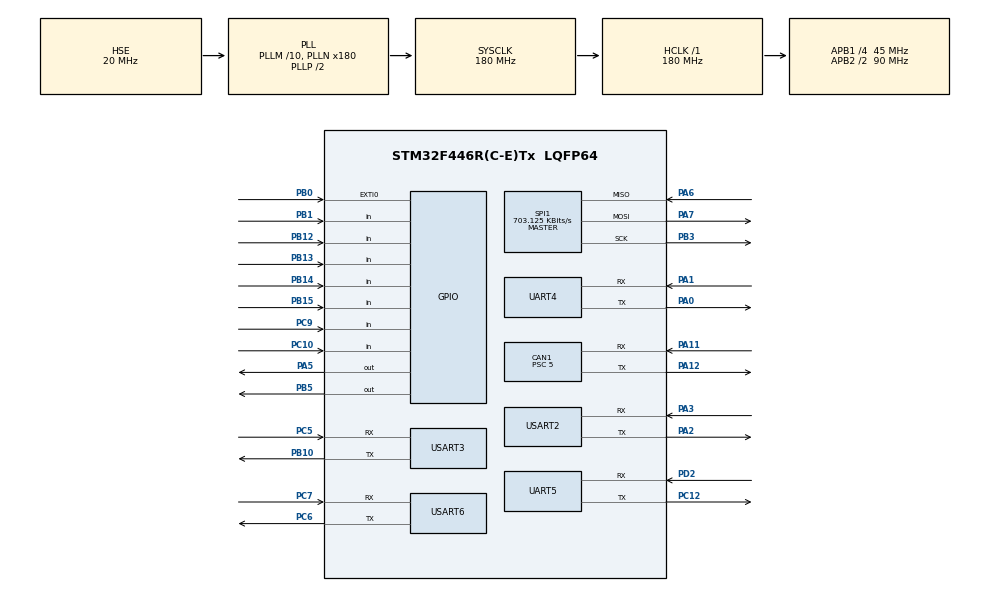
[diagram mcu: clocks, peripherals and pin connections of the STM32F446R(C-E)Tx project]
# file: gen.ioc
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CAN1.ABOM=ENABLE
CAN1.AWUM=ENABLE
CAN1.BS1=CAN_BS1_13TQ
CAN1.BS2=CAN_BS2_2TQ
CAN1.CalculateTimeQuantum=111.11111111111111
CAN1.NART=ENABLE
CAN1.Prescaler=5
Dma.Request0=USART2_RX
Dma.Request1=USART2_TX
Dma.Request2=USART3_RX
Dma.Request3=USART3_TX
Dma.Request4=SPI1_RX
Dma.Request5=SPI1_TX
Dma.Request6=UART5_RX
Dma.Request7=UART5_TX
Dma.Request8=UART4_RX
Dma.Request9=UART4_TX
Dma.SPI1_RX.4.Direction=DMA_PERIPH_TO_MEMORY
Dma.SPI1_RX.4.FIFOMode=DMA_FIFOMODE_DISABLE
Dma.SPI1_RX.4.Instance=DMA2_Stream0
Dma.SPI1_RX.4.MemDataAlignment=DMA_MDATAALIGN_BYTE
Dma.SPI1_RX.4.MemInc=DMA_MINC_ENABLE
Dma.SPI1_RX.4.Mode=DMA_NORMAL
Dma.SPI1_RX.4.PeriphDataAlignment=DMA_PDATAALIGN_BYTE
Dma.SPI1_RX.4.PeriphInc=DMA_PINC_DISABLE
Dma.SPI1_RX.4.Priority=DMA_PRIORITY_LOW
Dma.SPI1_TX.5.Direction=DMA_MEMORY_TO_PERIPH
Dma.SPI1_TX.5.FIFOMode=DMA_FIFOMODE_DISABLE
Dma.SPI1_TX.5.Instance=DMA2_Stream3
Dma.SPI1_TX.5.MemDataAlignment=DMA_MDATAALIGN_BYTE
Dma.SPI1_TX.5.MemInc=DMA_MINC_ENABLE
Dma.SPI1_TX.5.Mode=DMA_NORMAL
Dma.SPI1_TX.5.PeriphDataAlignment=DMA_PDATAALIGN_BYTE
Dma.SPI1_TX.5.PeriphInc=DMA_PINC_DISABLE
Dma.SPI1_TX.5.Priority=DMA_PRIORITY_LOW
Dma.UART4_RX.8.Direction=DMA_PERIPH_TO_MEMORY
Dma.UART4_RX.8.FIFOMode=DMA_FIFOMODE_DISABLE
Dma.UART4_RX.8.Instance=DMA1_Stream2
Dma.UART4_RX.8.MemDataAlignment=DMA_MDATAALIGN_BYTE
Dma.UART4_RX.8.MemInc=DMA_MINC_ENABLE
Dma.UART4_RX.8.Mode=DMA_CIRCULAR
Dma.UART4_RX.8.PeriphDataAlignment=DMA_PDATAALIGN_BYTE
Dma.UART4_RX.8.PeriphInc=DMA_PINC_DISABLE
Dma.UART4_RX.8.Priority=DMA_PRIORITY_LOW
Dma.UART4_TX.9.Direction=DMA_MEMORY_TO_PERIPH
Dma.UART4_TX.9.FIFOMode=DMA_FIFOMODE_DISABLE
Dma.UART4_TX.9.Instance=DMA1_Stream4
Dma.UART4_TX.9.MemDataAlignment=DMA_MDATAALIGN_BYTE
Dma.UART4_TX.9.MemInc=DMA_MINC_ENABLE
Dma.UART4_TX.9.Mode=DMA_NORMAL
Dma.UART4_TX.9.PeriphDataAlignment=DMA_PDATAALIGN_BYTE
Dma.UART4_TX.9.PeriphInc=DMA_PINC_DISABLE
Dma.UART4_TX.9.Priority=DMA_PRIORITY_LOW
Dma.UART5_RX.6.Direction=DMA_PERIPH_TO_MEMORY
Dma.UART5_RX.6.FIFOMode=DMA_FIFOMODE_DISABLE
Dma.UART5_RX.6.Instance=DMA1_Stream0
Dma.UART5_RX.6.MemDataAlignment=DMA_MDATAALIGN_BYTE
Dma.UART5_RX.6.MemInc=DMA_MINC_ENABLE
Dma.UART5_RX.6.Mode=DMA_CIRCULAR
Dma.UART5_RX.6.PeriphDataAlignment=DMA_PDATAALIGN_BYTE
Dma.UART5_RX.6.PeriphInc=DMA_PINC_DISABLE
Dma.UART5_RX.6.Priority=DMA_PRIORITY_LOW
Dma.UART5_TX.7.Direction=DMA_MEMORY_TO_PERIPH
Dma.UART5_TX.7.FIFOMode=DMA_FIFOMODE_DISABLE
Dma.UART5_TX.7.Instance=DMA1_Stream7
Dma.UART5_TX.7.MemDataAlignment=DMA_MDATAALIGN_BYTE
Dma.UART5_TX.7.MemInc=DMA_MINC_ENABLE
Dma.UART5_TX.7.Mode=DMA_NORMAL
Dma.UART5_TX.7.PeriphDataAlignment=DMA_PDATAALIGN_BYTE
Dma.UART5_TX.7.PeriphInc=DMA_PINC_DISABLE
Dma.UART5_TX.7.Priority=DMA_PRIORITY_LOW
Dma.USART2_RX.0.Direction=DMA_PERIPH_TO_MEMORY
Dma.USART2_RX.0.FIFOMode=DMA_FIFOMODE_DISABLE
Dma.USART2_RX.0.Instance=DMA1_Stream5
Dma.USART2_RX.0.MemDataAlignment=DMA_MDATAALIGN_BYTE
Dma.USART2_RX.0.MemInc=DMA_MINC_ENABLE
Dma.USART2_RX.0.Mode=DMA_NORMAL
Dma.USART2_RX.0.PeriphDataAlignment=DMA_PDATAALIGN_BYTE
Dma.USART2_RX.0.PeriphInc=DMA_PINC_DISABLE
Dma.USART2_RX.0.Priority=DMA_PRIORITY_LOW
Dma.USART2_TX.1.Direction=DMA_MEMORY_TO_PERIPH
Dma.USART2_TX.1.FIFOMode=DMA_FIFOMODE_DISABLE
Dma.USART2_TX.1.Instance=DMA1_Stream6
Dma.USART2_TX.1.MemDataAlignment=DMA_MDATAALIGN_BYTE
Dma.USART2_TX.1.MemInc=DMA_MINC_ENABLE
Dma.USART2_TX.1.Mode=DMA_NORMAL
Dma.USART2_TX.1.PeriphDataAlignment=DMA_PDATAALIGN_BYTE
Dma.USART2_TX.1.PeriphInc=DMA_PINC_DISABLE
Dma.USART2_TX.1.Priority=DMA_PRIORITY_LOW
Dma.USART3_RX.2.Direction=DMA_PERIPH_TO_MEMORY
Dma.USART3_RX.2.FIFOMode=DMA_FIFOMODE_DISABLE
Dma.USART3_RX.2.Instance=DMA1_Stream1
Dma.USART3_RX.2.MemDataAlignment=DMA_MDATAALIGN_BYTE
Dma.USART3_RX.2.MemInc=DMA_MINC_ENABLE
Dma.USART3_RX.2.Mode=DMA_CIRCULAR
Dma.USART3_RX.2.PeriphDataAlignment=DMA_PDATAALIGN_BYTE
Dma.USART3_RX.2.PeriphInc=DMA_PINC_DISABLE
Dma.USART3_RX.2.Priority=DMA_PRIORITY_LOW
Dma.USART3_TX.3.Direction=DMA_MEMORY_TO_PERIPH
Dma.USART3_TX.3.FIFOMode=DMA_FIFOMODE_DISABLE
Dma.USART3_TX.3.Instance=DMA1_Stream3
Dma.USART3_TX.3.MemDataAlignment=DMA_MDATAALIGN_BYTE
Dma.USART3_TX.3.MemInc=DMA_MINC_ENABLE
Dma.USART3_TX.3.Mode=DMA_NORMAL
Dma.USART3_TX.3.PeriphDataAlignment=DMA_PDATAALIGN_BYTE
Dma.USART3_TX.3.PeriphInc=DMA_PINC_DISABLE
Dma.USART3_TX.3.Priority=DMA_PRIORITY_LOW
FREERTOS.MEMORY_ALLOCATION=1
FREERTOS.Tasks01=DebugTask,-2,1024,StartDebugTask,Default,NULL,Static,DebugTaskBuffer,DebugTaskControlBlock;ControlTask,3,512,StartControlTask,Default,NULL,Static,ControlTaskBuffer,ControlTaskControlBlock;VehicleStateTask,0,512,StartVehicleStateTask,Default,NULL,Static,VehicleStateTaskBuffer,VehicleStateTaskControlBlock;LineDetectTask,2,512,StartLineDetectTask,Default,NULL,Static,LineDetectTaskBuffer,LineDetectTaskControlBlock;StartupTask,-2,512,StartStartupTask,Default,NULL,Static,StartupTaskBuffer,StartupTaskControlBlock;DistSensorTask,0,512,StartDistSensorTask,Default,NULL,Static,DistSensorTaskBuffer,DistSensorTaskControlBlock;ProgLabyrinthTask,0,1024,StartProgLabyrinthTask,Default,NULL,Static,TaskProgLabyrinthBuffer,TaskProgLabyrinthControlBlock;ProgRaceTrackTask,0,1024,StartProgRaceTrackTask,Default,NULL,Static,ProgRaceTrackTaskBuffer,ProgRaceTrackTaskControlBlock;RadioRecvTask,-2,512,StartRadioRecvTask,Default,NULL,Static,RadioRecvTaskBuffer,RadioRecvTaskControlBlock
FREERTOS.configCHECK_FOR_STACK_OVERFLOW=1
FREERTOS.configMAX_TASK_NAME_LEN=30
FREERTOS.configUSE_TRACE_FACILITY=1
Mcu.Family=STM32F4
Mcu.Name=STM32F446R(C-E)Tx
Mcu.Package=LQFP64
NVIC.CAN1_RX0_IRQn=true\:5\:0\:false\:false\:true\:true\:true\:true
NVIC.CAN1_TX_IRQn=true\:5\:0\:false\:false\:true\:true\:true\:true
NVIC.DMA1_Stream0_IRQn=true\:5\:0\:false\:false\:true\:true\:false\:true
NVIC.DMA1_Stream1_IRQn=true\:5\:0\:false\:false\:true\:true\:false\:true
NVIC.DMA1_Stream2_IRQn=true\:5\:0\:false\:false\:true\:true\:false\:true
NVIC.DMA1_Stream3_IRQn=true\:5\:0\:false\:false\:true\:true\:false\:true
NVIC.DMA1_Stream4_IRQn=true\:5\:0\:false\:false\:true\:true\:false\:true
NVIC.DMA1_Stream5_IRQn=true\:5\:0\:false\:false\:true\:true\:false\:true
NVIC.DMA1_Stream6_IRQn=true\:5\:0\:false\:false\:true\:true\:false\:true
NVIC.DMA1_Stream7_IRQn=true\:5\:0\:false\:false\:true\:true\:false\:true
NVIC.DMA2_Stream0_IRQn=true\:5\:0\:false\:false\:true\:true\:false\:true
NVIC.DMA2_Stream3_IRQn=true\:5\:0\:false\:false\:true\:true\:false\:true
NVIC.EXTI0_IRQn=true\:5\:0\:false\:false\:true\:true\:true\:true
NVIC.PriorityGroup=NVIC_PRIORITYGROUP_4
NVIC.SPI1_IRQn=true\:5\:0\:false\:false\:true\:true\:true\:true
NVIC.TIM2_IRQn=true\:0\:0\:false\:false\:true\:false\:false\:true
NVIC.TimeBase=TIM2_IRQn
NVIC.TimeBaseIP=TIM2
NVIC.UART4_IRQn=true\:5\:0\:false\:false\:true\:true\:true\:true
NVIC.UART5_IRQn=true\:5\:0\:false\:false\:true\:true\:true\:true
NVIC.USART2_IRQn=true\:5\:0\:false\:false\:true\:true\:true\:true
NVIC.USART3_IRQn=true\:5\:0\:false\:false\:true\:true\:true\:true
PA0-WKUP.Mode=Asynchronous
PA0-WKUP.Signal=UART4_TX
PA1.Mode=Asynchronous
PA1.Signal=UART4_RX
PA11.Mode=Master
PA11.Signal=CAN1_RX
PA12.Mode=Master
PA12.Signal=CAN1_TX
PA13.Signal=SYS_JTMS-SWDIO
PA14.Signal=SYS_JTCK-SWCLK
PA2.Mode=Asynchronous
PA2.Signal=USART2_TX
PA3.Mode=Asynchronous
PA3.Signal=USART2_RX
PA5.Signal=GPIO_Output
PA6.Mode=Full_Duplex_Master
PA6.Signal=SPI1_MISO
PA7.Mode=Full_Duplex_Master
PA7.Signal=SPI1_MOSI
PB0.Signal=GPXTI0
PB1.Signal=GPIO_Input
PB10.Mode=Asynchronous
PB10.Signal=USART3_TX
PB12.Signal=GPIO_Input
PB13.Signal=GPIO_Input
PB14.Signal=GPIO_Input
PB15.Signal=GPIO_Input
PB3.Mode=Full_Duplex_Master
PB3.Signal=SPI1_SCK
PB5.Signal=GPIO_Output
PC10.Signal=GPIO_Input
PC12.Mode=Asynchronous
PC12.Signal=UART5_TX
PC5.Mode=Asynchronous
PC5.Signal=USART3_RX
PC6.Mode=Asynchronous
PC6.Signal=USART6_TX
PC7.Mode=Asynchronous
PC7.Signal=USART6_RX
PC9.Signal=GPIO_Input
PD2.Mode=Asynchronous
PD2.Signal=UART5_RX
PH0-OSC_IN.Mode=HSE-External-Oscillator
PH0-OSC_IN.Signal=RCC_OSC_IN
PH1-OSC_OUT.Mode=HSE-External-Oscillator
PH1-OSC_OUT.Signal=RCC_OSC_OUT
ProjectManager.HeapSize=0x200
ProjectManager.StackSize=0x400
ProjectManager.TargetToolchain=SW4STM32
RCC.AHBFreq_Value=180000000
RCC.APB1CLKDivider=RCC_HCLK_DIV4
RCC.APB1Freq_Value=45000000
RCC.APB1TimFreq_Value=90000000
RCC.APB2CLKDivider=RCC_HCLK_DIV2
RCC.APB2Freq_Value=90000000
RCC.APB2TimFreq_Value=180000000
RCC.CortexFreq_Value=180000000
RCC.HCLKFreq_Value=180000000
RCC.HSE_VALUE=20000000
RCC.PLLM=10
RCC.PLLN=180
RCC.PLLSourceVirtual=RCC_PLLSOURCE_HSE
RCC.SYSCLKFreq_VALUE=180000000
RCC.SYSCLKSource=RCC_SYSCLKSOURCE_PLLCLK
RCC.USBFreq_Value=180000000
RCC.VCOOutputFreq_Value=360000000
SPI1.BaudRatePrescaler=SPI_BAUDRATEPRESCALER_128
SPI1.CLKPhase=SPI_PHASE_2EDGE
SPI1.CLKPolarity=SPI_POLARITY_HIGH
SPI1.CalculateBaudRate=703.125 KBits/s
SPI1.Direction=SPI_DIRECTION_2LINES
SPI1.Mode=SPI_MODE_MASTER
SPI1.VirtualType=VM_MASTER
UART4.VirtualMode=Asynchronous
UART5.VirtualMode=Asynchronous
USART2.VirtualMode=VM_ASYNC
USART3.VirtualMode=VM_ASYNC
USART6.VirtualMode=VM_ASYNC
VP_FREERTOS_VS_CMSIS_V1.Mode=CMSIS_V1
VP_SYS_VS_tim2.Mode=TIM2
board=gen

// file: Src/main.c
/* USER CODE BEGIN Header */
/**
  ******************************************************************************
  * @file           : main.c
  * @brief          : Main program body
  ******************************************************************************
  * @attention
  *
  * <h2><center>&copy; Copyright (c) 2019 STMicroelectronics.
  * All rights reserved.</center></h2>
  *
  * This software component is licensed by ST under Ultimate Liberty license
  * SLA0044, the "License"; You may not use this file except in compliance with
  * the License. You may obtain a copy of the License at:
  *                             www.st.com/SLA0044
  *
  ******************************************************************************
  */
/* USER CODE END Header */

#include "main.h"
#include "cmsis_os.h"
#include "can.h"
#include "dma.h"
#include "spi.h"
#include "usart.h"
#include "gpio.h"

/* USER CODE BEGIN Includes */
#include <system_init.h>
/* USER CODE END Includes */

void SystemClock_Config(void);
void MX_FREERTOS_Init(void);
/* USER CODE BEGIN PFP */
/* Private function prototypes -----------------------------------------------*/

/* USER CODE END PFP */

int main(void)
{

  /* MCU Configuration--------------------------------------------------------*/

  /* Reset of all peripherals, Initializes the Flash interface and the Systick. */
  HAL_Init();

  /* Configure the system clock */
  SystemClock_Config();

  /* USER CODE BEGIN SysInit */
  system_init();
  /* USER CODE END SysInit */

  /* Initialize all configured peripherals */
  MX_GPIO_Init();
  MX_DMA_Init();
  MX_USART2_UART_Init();
  MX_USART3_UART_Init();
  MX_SPI1_Init();
  MX_CAN1_Init();
  MX_UART5_Init();
  MX_USART6_UART_Init();
  MX_UART4_Init();
  /* USER CODE BEGIN 2 */
  can_start();
  /* USER CODE END 2 */

  /* Call init function for freertos objects (in freertos.c) */
  MX_FREERTOS_Init();

  /* Start scheduler */
  osKernelStart();

  /* We should never get here as control is now taken by the scheduler */

  /* Infinite loop */
    while (1) {

    }
}

void SystemClock_Config(void)
{
  RCC_OscInitTypeDef RCC_OscInitStruct = {0};
  RCC_ClkInitTypeDef RCC_ClkInitStruct = {0};

  /** Configure the main internal regulator output voltage
  */
  __HAL_RCC_PWR_CLK_ENABLE();
  __HAL_PWR_VOLTAGESCALING_CONFIG(PWR_REGULATOR_VOLTAGE_SCALE1);
  /** Initializes the CPU, AHB and APB busses clocks
  */
  RCC_OscInitStruct.OscillatorType = RCC_OSCILLATORTYPE_HSE;
  RCC_OscInitStruct.HSEState = RCC_HSE_ON;
  RCC_OscInitStruct.PLL.PLLState = RCC_PLL_ON;
  RCC_OscInitStruct.PLL.PLLSource = RCC_PLLSOURCE_HSE;
  RCC_OscInitStruct.PLL.PLLM = 10;
  RCC_OscInitStruct.PLL.PLLN = 180;
  RCC_OscInitStruct.PLL.PLLP = RCC_PLLP_DIV2;
  RCC_OscInitStruct.PLL.PLLQ = 2;
  RCC_OscInitStruct.PLL.PLLR = 2;
  if (HAL_RCC_OscConfig(&RCC_OscInitStruct) != HAL_OK)
  {
    Error_Handler();
  }
  /** Activate the Over-Drive mode
  */
  if (HAL_PWREx_EnableOverDrive() != HAL_OK)
  {
    Error_Handler();
  }
  /** Initializes the CPU, AHB and APB busses clocks
  */
  RCC_ClkInitStruct.ClockType = RCC_CLOCKTYPE_HCLK|RCC_CLOCKTYPE_SYSCLK
                              |RCC_CLOCKTYPE_PCLK1|RCC_CLOCKTYPE_PCLK2;
  RCC_ClkInitStruct.SYSCLKSource = RCC_SYSCLKSOURCE_PLLCLK;
  RCC_ClkInitStruct.AHBCLKDivider = RCC_SYSCLK_DIV1;
  RCC_ClkInitStruct.APB1CLKDivider = RCC_HCLK_DIV4;
  RCC_ClkInitStruct.APB2CLKDivider = RCC_HCLK_DIV2;

  if (HAL_RCC_ClockConfig(&RCC_ClkInitStruct, FLASH_LATENCY_5) != HAL_OK)
  {
    Error_Handler();
  }
}

void HAL_TIM_PeriodElapsedCallback(TIM_HandleTypeDef *htim)
{
  if (htim->Instance == TIM2) {
    HAL_IncTick();
  }
}

void Error_Handler(void)
{
  __disable_irq();
  while (1) {}
}

/************************ (C) COPYRIGHT STMicroelectronics *****END OF FILE****/

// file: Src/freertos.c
/* USER CODE BEGIN Header */
/**
  ******************************************************************************
  * File Name          : freertos.c
  * Description        : Code for freertos applications
  ******************************************************************************
  * This notice applies to any and all portions of this file
  * that are not between comment pairs USER CODE BEGIN and
  * USER CODE END. Other portions of this file, whether
  * inserted by the user or by software development tools
  * are owned by their respective copyright owners.
  *
  * Copyright (c) 2018 STMicroelectronics International N.V.
  * All rights reserved.
  *
  * Redistribution and use in source and binary forms, with or without
  * modification, are permitted, provided that the following conditions are met:
  *
  * 1. Redistribution of source code must retain the above copyright notice,
  *    this list of conditions and the following disclaimer.
  * 2. Redistributions in binary form must reproduce the above copyright notice,
  *    this list of conditions and the following disclaimer in the documentation
  *    and/or other materials provided with the distribution.
  * 3. Neither the name of STMicroelectronics nor the names of other
  *    contributors to this software may be used to endorse or promote products
  *    derived from this software without specific written permission.
  * 4. This software, including modifications and/or derivative works of this
  *    software, must execute solely and exclusively on microcontroller or
  *    microprocessor devices manufactured by or for STMicroelectronics.
  * 5. Redistribution and use of this software other than as permitted under
  *    this license is void and will automatically terminate your rights under
  *    this license.
  *
  * THIS SOFTWARE IS PROVIDED BY STMICROELECTRONICS AND CONTRIBUTORS "AS IS"
  * AND ANY EXPRESS, IMPLIED OR STATUTORY WARRANTIES, INCLUDING, BUT NOT
  * LIMITED TO, THE IMPLIED WARRANTIES OF MERCHANTABILITY, FITNESS FOR A
  * PARTICULAR PURPOSE AND NON-INFRINGEMENT OF THIRD PARTY INTELLECTUAL PROPERTY
  * RIGHTS ARE DISCLAIMED TO THE FULLEST EXTENT PERMITTED BY LAW. IN NO EVENT
  * SHALL STMICROELECTRONICS OR CONTRIBUTORS BE LIABLE FOR ANY DIRECT, INDIRECT,
  * INCIDENTAL, SPECIAL, EXEMPLARY, OR CONSEQUENTIAL DAMAGES (INCLUDING, BUT NOT
  * LIMITED TO, PROCUREMENT OF SUBSTITUTE GOODS OR SERVICES; LOSS OF USE, DATA,
  * OR PROFITS; OR BUSINESS INTERRUPTION) HOWEVER CAUSED AND ON ANY THEORY OF
  * LIABILITY, WHETHER IN CONTRACT, STRICT LIABILITY, OR TORT (INCLUDING
  * NEGLIGENCE OR OTHERWISE) ARISING IN ANY WAY OUT OF THE USE OF THIS SOFTWARE,
  * EVEN IF ADVISED OF THE POSSIBILITY OF SUCH DAMAGE.
  *
  ******************************************************************************
  */
/* USER CODE END Header */

#include "FreeRTOS.h"
#include "task.h"
#include "main.h"
#include "cmsis_os.h"

osThreadId DebugTaskHandle;
uint32_t DebugTaskBuffer[ 2048 ];
osStaticThreadDef_t DebugTaskControlBlock;
osThreadId ControlTaskHandle;
uint32_t ControlTaskBuffer[ 1024 ];
osStaticThreadDef_t ControlTaskControlBlock;
osThreadId VehicleStateTaskHandle;
uint32_t VehicleStateTaskBuffer[ 1024 ];
osStaticThreadDef_t VehicleStateTaskControlBlock;
osThreadId LineDetectTaskHandle;
uint32_t LineDetectTaskBuffer[ 1024 ];
osStaticThreadDef_t LineDetectTaskControlBlock;
osThreadId StartupTaskHandle;
uint32_t StartupTaskBuffer[ 512 ];
osStaticThreadDef_t StartupTaskControlBlock;
osThreadId DistSensorTaskHandle;
uint32_t DistSensorTaskBuffer[ 512 ];
osStaticThreadDef_t DistSensorTaskControlBlock;
osThreadId ProgLabyrinthTaskHandle;
uint32_t TaskProgLabyrinthBuffer[ 2048 ];
osStaticThreadDef_t TaskProgLabyrinthControlBlock;
osThreadId ProgRaceTrackTaskHandle;
uint32_t ProgRaceTrackTaskBuffer[ 2048 ];
osStaticThreadDef_t ProgRaceTrackTaskControlBlock;
osThreadId RadioRecvTaskHandle;
uint32_t RadioRecvTaskBuffer[ 512 ];
osStaticThreadDef_t RadioRecvTaskControlBlock;

/* USER CODE BEGIN FunctionPrototypes */

void runDebugTask(void);
void runControlTask(void);
void runVehicleStateTask(void);
void runLineDetectTask(void);
void runStartupTask(void);
void runDistSensorTask(void);
void runProgLabyrinthTask(void);
void runProgRaceTrackTask(void);
void runRadioRecvTask(void);

/* USER CODE END FunctionPrototypes */

void StartDebugTask(void const * argument);
void StartControlTask(void const * argument);
void StartVehicleStateTask(void const * argument);
void StartLineDetectTask(void const * argument);
void StartStartupTask(void const * argument);
void StartDistSensorTask(void const * argument);
void StartProgLabyrinthTask(void const * argument);
void StartProgRaceTrackTask(void const * argument);
void StartRadioRecvTask(void const * argument);

void MX_FREERTOS_Init(void); /* (MISRA C 2004 rule 8.1) */

/* GetIdleTaskMemory prototype (linked to static allocation support) */
void vApplicationGetIdleTaskMemory( StaticTask_t **ppxIdleTaskTCBBuffer, StackType_t **ppxIdleTaskStackBuffer, uint32_t *pulIdleTaskStackSize );

/* Hook prototypes */
void vApplicationStackOverflowHook(xTaskHandle xTask, signed char *pcTaskName);

/* USER CODE BEGIN 4 */
__weak void vApplicationStackOverflowHook(xTaskHandle xTask, signed char *pcTaskName)
{
   /* Run time stack overflow checking is performed if
   configCHECK_FOR_STACK_OVERFLOW is defined to 1 or 2. This hook function is
   called if a stack overflow is detected. */
}
/* USER CODE END 4 */

/* USER CODE BEGIN GET_IDLE_TASK_MEMORY */
static StaticTask_t xIdleTaskTCBBuffer;
static StackType_t xIdleStack[configMINIMAL_STACK_SIZE];

void vApplicationGetIdleTaskMemory( StaticTask_t **ppxIdleTaskTCBBuffer, StackType_t **ppxIdleTaskStackBuffer, uint32_t *pulIdleTaskStackSize )
{
  *ppxIdleTaskTCBBuffer = &xIdleTaskTCBBuffer;
  *ppxIdleTaskStackBuffer = &xIdleStack[0];
  *pulIdleTaskStackSize = configMINIMAL_STACK_SIZE;
  /* place for user code */
}
/* USER CODE END GET_IDLE_TASK_MEMORY */

void MX_FREERTOS_Init(void) {

  /* Create the thread(s) */
  /* definition and creation of DebugTask */
  osThreadStaticDef(DebugTask, StartDebugTask, osPriorityLow, 0, 2048, DebugTaskBuffer, &DebugTaskControlBlock);
  DebugTaskHandle = osThreadCreate(osThread(DebugTask), NULL);

  /* definition and creation of ControlTask */
  osThreadStaticDef(ControlTask, StartControlTask, osPriorityRealtime, 0, 1024, ControlTaskBuffer, &ControlTaskControlBlock);
  ControlTaskHandle = osThreadCreate(osThread(ControlTask), NULL);

  /* definition and creation of VehicleStateTask */
  osThreadStaticDef(VehicleStateTask, StartVehicleStateTask, osPriorityNormal, 0, 1024, VehicleStateTaskBuffer, &VehicleStateTaskControlBlock);
  VehicleStateTaskHandle = osThreadCreate(osThread(VehicleStateTask), NULL);

  /* definition and creation of LineDetectTask */
  osThreadStaticDef(LineDetectTask, StartLineDetectTask, osPriorityHigh, 0, 1024, LineDetectTaskBuffer, &LineDetectTaskControlBlock);
  LineDetectTaskHandle = osThreadCreate(osThread(LineDetectTask), NULL);

  /* definition and creation of StartupTask */
  osThreadStaticDef(StartupTask, StartStartupTask, osPriorityLow, 0, 512, StartupTaskBuffer, &StartupTaskControlBlock);
  StartupTaskHandle = osThreadCreate(osThread(StartupTask), NULL);

  /* definition and creation of DistSensorTask */
  osThreadStaticDef(DistSensorTask, StartDistSensorTask, osPriorityNormal, 0, 512, DistSensorTaskBuffer, &DistSensorTaskControlBlock);
  DistSensorTaskHandle = osThreadCreate(osThread(DistSensorTask), NULL);

  /* definition and creation of ProgLabyrinthTask */
  osThreadStaticDef(ProgLabyrinthTask, StartProgLabyrinthTask, osPriorityNormal, 0, 2048, TaskProgLabyrinthBuffer, &TaskProgLabyrinthControlBlock);
  ProgLabyrinthTaskHandle = osThreadCreate(osThread(ProgLabyrinthTask), NULL);

  /* definition and creation of ProgRaceTrackTask */
  osThreadStaticDef(ProgRaceTrackTask, StartProgRaceTrackTask, osPriorityNormal, 0, 2048, ProgRaceTrackTaskBuffer, &ProgRaceTrackTaskControlBlock);
  ProgRaceTrackTaskHandle = osThreadCreate(osThread(ProgRaceTrackTask), NULL);

  /* definition and creation of RadioRecvTask */
  osThreadStaticDef(RadioRecvTask, StartRadioRecvTask, osPriorityLow, 0, 512, RadioRecvTaskBuffer, &RadioRecvTaskControlBlock);
  RadioRecvTaskHandle = osThreadCreate(osThread(RadioRecvTask), NULL);

}

void StartDebugTask(void const * argument)
{

  /* USER CODE BEGIN StartDebugTask */
  runDebugTask();
  vTaskDelete(NULL);
  /* USER CODE END StartDebugTask */
}

void StartControlTask(void const * argument)
{
  /* USER CODE BEGIN StartControlTask */
  UNUSED(argument);
  runControlTask();
  vTaskDelete(NULL);
  /* USER CODE END StartControlTask */
}

void StartVehicleStateTask(void const * argument)
{
  /* USER CODE BEGIN StartVehicleStateTask */
  UNUSED(argument);
  runVehicleStateTask();
  vTaskDelete(NULL);
  /* USER CODE END StartVehicleStateTask */
}

void StartLineDetectTask(void const * argument)
{
  /* USER CODE BEGIN StartLineDetectTask */
  UNUSED(argument);
  runLineDetectTask();
  vTaskDelete(NULL);
  /* USER CODE END StartLineDetectTask */
}

void StartStartupTask(void const * argument)
{
  /* USER CODE BEGIN StartStartupTask */
  UNUSED(argument);
  runStartupTask();
  vTaskDelete(NULL);
  /* USER CODE END StartStartupTask */
}

void StartDistSensorTask(void const * argument)
{
  /* USER CODE BEGIN StartDistSensorTask */
  UNUSED(argument);
  runDistSensorTask();
  vTaskDelete(NULL);
  /* USER CODE END StartDistSensorTask */
}

void StartProgLabyrinthTask(void const * argument)
{
  /* USER CODE BEGIN StartProgLabyrinthTask */
  UNUSED(argument);
  runProgLabyrinthTask();
  vTaskDelete(NULL);
  /* USER CODE END StartProgLabyrinthTask */
}

void StartProgRaceTrackTask(void const * argument)
{
  /* USER CODE BEGIN StartProgRaceTrackTask */
  UNUSED(argument);
  runProgRaceTrackTask();
  vTaskDelete(NULL);
  /* USER CODE END StartProgRaceTrackTask */
}

void StartRadioRecvTask(void const * argument)
{
  /* USER CODE BEGIN StartRadioRecvTask */
  UNUSED(argument);
  runRadioRecvTask();
  vTaskDelete(NULL);
  /* USER CODE END StartRadioRecvTask */
}

/************************ (C) COPYRIGHT STMicroelectronics *****END OF FILE****/
